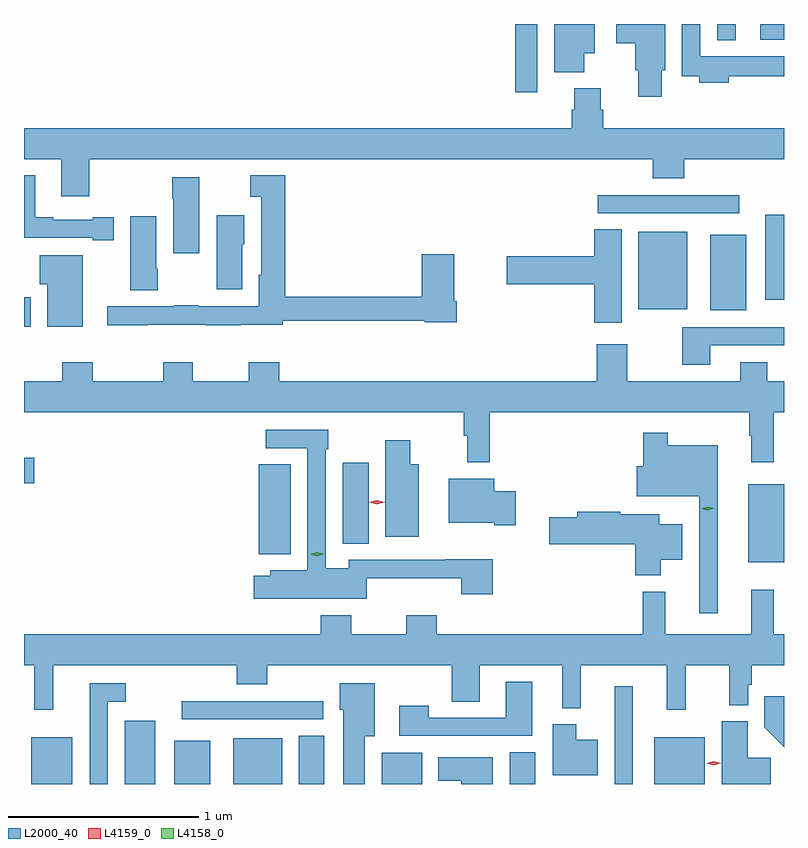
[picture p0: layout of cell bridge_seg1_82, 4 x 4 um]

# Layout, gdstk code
import gdstk
lib = gdstk.Library(unit=1e-6, precision=1e-09)
def R(c, l, rs):  # rectangles x0, y0, x1, y1
    for r in rs: c.add(gdstk.rectangle(r[:2], r[2:], *l))
def P(c, l, *ps):  # polygons
    for p in ps: c.add(gdstk.Polygon(p, *l))
L2000_40 = (2000, 40)
L4158_0 = (4158, 0)
L4159_0 = (4159, 0)

bridge_seg1_82 = lib.new_cell('bridge_seg1_82')
R(bridge_seg1_82, L2000_40, [(542.675,523.136,542.89,523.381), (543.167,523.136,543.328,523.468), (543.428,523.136,543.616,523.363), (543.737,523.136,543.994,523.378), (544.082,523.136,544.216,523.391), (544.52,523.136,544.732,523.3), (545.192,523.136,545.326,523.304), (545.745,523.136,545.841,523.651), (545.954,523.136,546.22,523.381), (543.465,523.476,544.21,523.572), (546.449,524.303,546.636,524.713), (543.872,524.345,544.039,524.819), (544.313,524.401,544.45,524.827), (542.636,524.72,542.689,524.854), (542.636,525.543,542.671,525.699), (546.248,525.629,546.436,526.027), (545.87,525.635,546.127,526.042), (546.536,525.684,546.636,526.132), (545.655,526.14,546.4,526.236), (545.221,526.776,545.337,527.136), (546.285,527.051,546.382,527.136), (546.512,527.052,546.636,527.136)])
P(bridge_seg1_82, L2000_40, [(546.344,526.86),(546.575,526.86),(546.575,526.862),(546.636,526.862),(546.636,526.966),(546.195,526.966),(546.195,527.136),(546.099,527.136),(546.099,526.86),(546.191,526.86),(546.191,526.826),(546.344,526.826)],
  [(545.584,526.982),(545.641,526.982),(545.641,527.136),(545.426,527.136),(545.426,526.883),(545.584,526.883)],
  [(545.992,526.893),(546.01,526.893),(546.01,527.136),(545.753,527.136),(545.753,527.035),(545.852,527.035),(545.852,526.893),(545.87,526.893),(545.87,526.752),(545.992,526.752)],
  [(542.979,526.424),(545.945,526.424),(545.945,526.325),(546.11,526.325),(546.11,526.424),(546.636,526.424),(546.636,526.588),(545.684,526.588),(545.684,526.686),(545.671,526.686),(545.671,526.798),(545.531,526.798),(545.531,526.686),(545.519,526.686),(545.519,526.588),(542.636,526.588),(542.636,526.424),(542.831,526.424),(542.831,526.23),(542.979,526.23)],
  [(543.109,526.12),(542.999,526.12),(542.999,526.107),(542.791,526.107),(542.791,526.12),(542.695,526.12),(542.695,526.339),(542.636,526.339),(542.636,526.011),(542.999,526.011),(542.999,525.999),(543.109,525.999)],
  [(543.287,525.554),(543.593,525.554),(543.593,525.55),(543.776,525.55),(543.776,525.554),(543.997,525.554),(543.997,525.573),(544.746,525.573),(544.746,525.565),(544.913,525.565),(544.913,525.676),(544.9,525.676),(544.9,525.925),(544.73,525.925),(544.73,525.701),(544.01,525.701),(544.01,526.339),(543.828,526.339),(543.828,526.226),(543.884,526.226),(543.884,525.816),(543.872,525.816),(543.872,525.651),(543.554,525.651),(543.554,525.656),(543.427,525.656),(543.427,525.651),(543.075,525.651),(543.075,525.55),(543.287,525.55)],
  [(543.559,526.33),(543.415,526.33),(543.415,526.217),(543.422,526.217),(543.422,525.93),(543.559,525.93)],
  [(543.784,525.978),(543.796,525.978),(543.796,526.129),(543.65,526.129),(543.65,525.74),(543.784,525.74)],
  [(543.339,525.847),(543.331,525.847),(543.331,526.123),(543.194,526.123),(543.194,525.736),(543.339,525.736)],
  [(545.782,526.055),(545.636,526.055),(545.636,525.914),(545.178,525.914),(545.178,525.767),(545.636,525.767),(545.636,525.564),(545.782,525.564)],
  [(542.944,525.919),(542.72,525.919),(542.72,525.767),(542.759,525.767),(542.759,525.542),(542.944,525.542)],
  [(546.247,525.444),(546.636,525.444),(546.636,525.54),(546.1,525.54),(546.1,525.342),(546.247,525.342)],
  [(545.087,525.092),(546.453,525.092),(546.453,524.969),(546.464,524.969),(546.464,524.829),(546.581,524.829),(546.581,525.092),(546.636,525.092),(546.636,525.256),(546.547,525.256),(546.547,525.355),(546.407,525.355),(546.407,525.256),(545.811,525.256),(545.811,525.451),(545.651,525.451),(545.651,525.256),(543.98,525.256),(543.98,525.355),(543.82,525.355),(543.82,525.256),(543.525,525.256),(543.525,525.355),(543.37,525.355),(543.37,525.256),(542.997,525.256),(542.997,525.355),(542.837,525.355),(542.837,525.256),(542.636,525.256),(542.636,525.092),(544.951,525.092),(544.951,524.969),(544.969,524.969),(544.969,524.829),(545.087,524.829)],
  [(544.44,524.219),(544.937,524.219),(544.937,524.136),(545.102,524.136),(545.102,524.318),(544.853,524.318),(544.853,524.316),(544.344,524.316),(544.344,524.272),(544.224,524.272),(544.224,524.897),(544.237,524.897),(544.237,525),(543.909,525),(543.909,524.904),(544.128,524.904),(544.128,524.26),(543.933,524.26),(543.933,524.233),(543.846,524.233),(543.846,524.111),(544.44,524.111)],
  [(546.286,524.92),(546.025,524.92),(546.025,524.986),(545.896,524.986),(545.896,524.809),(545.862,524.809),(545.862,524.651),(546.189,524.651),(546.189,524.034),(546.286,524.034)],
  [(544.714,524.818),(544.668,524.818),(544.668,524.944),(544.538,524.944),(544.538,524.438),(544.714,524.438)],
  [(545.224,524.676),(545.11,524.676),(545.11,524.743),(544.871,524.743),(544.871,524.51),(545.111,524.51),(545.111,524.498),(545.224,524.498)],
  [(545.986,524.315),(546.1,524.315),(546.1,524.503),(545.98,524.503),(545.98,524.557),(545.774,524.557),(545.774,524.57),(545.549,524.57),(545.549,524.54),(545.4,524.54),(545.4,524.398),(545.852,524.398),(545.852,524.234),(545.986,524.234)],
  [(544.808,524.023),(544.648,524.023),(544.648,523.924),(544.359,523.924),(544.359,524.023),(544.199,524.023),(544.199,523.924),(542.636,523.924),(542.636,523.76),(542.69,523.76),(542.69,523.527),(542.789,523.527),(542.789,523.76),(543.755,523.76),(543.755,523.661),(543.915,523.661),(543.915,523.76),(544.888,523.76),(544.888,523.57),(545.035,523.57),(545.035,523.76),(545.468,523.76),(545.468,523.535),(545.567,523.535),(545.567,523.76),(546.02,523.76),(546.02,523.527),(546.12,523.527),(546.12,523.76),(546.349,523.76),(546.349,523.55),(546.447,523.55),(546.447,523.659),(546.467,523.659),(546.467,523.76),(546.636,523.76),(546.636,523.924),(546.581,523.924),(546.581,524.158),(546.464,524.158),(546.464,523.924),(546.011,523.924),(546.011,524.149),(545.893,524.149),(545.893,523.924),(544.808,523.924)],
  [(545.311,523.675),(545.171,523.675),(545.171,523.485),(544.767,523.485),(544.767,523.549),(544.611,523.549),(544.611,523.389),(545.311,523.389)],
  [(544.429,523.388),(544.483,523.388),(544.483,523.666),(544.298,523.666),(544.298,523.527),(544.316,523.527),(544.316,523.136),(544.429,523.136)],
  [(543.078,523.569),(543.172,523.569),(543.172,523.665),(542.982,523.665),(542.982,523.136),(543.078,523.136)],
  [(546.636,523.597),(546.532,523.597),(546.532,523.434),(546.636,523.33)],
  [(546.566,523.274),(546.445,523.274),(546.445,523.465),(546.308,523.465),(546.308,523.136),(546.566,523.136)],
  [(545.656,523.369),(545.542,523.369),(545.542,523.45),(545.42,523.45),(545.42,523.181),(545.656,523.181)],
  [(545.104,523.276),(544.817,523.276),(544.817,523.154),(544.937,523.154),(544.937,523.136),(545.104,523.136)])
P(bridge_seg1_82, L4158_0, [(544.176,524.336),(544.142,524.346),(544.141,524.346),(544.142,524.346),(544.176,524.356),(544.211,524.347),(544.211,524.347),(544.211,524.346)],
  [(546.235,524.576),(546.2,524.584),(546.2,524.584),(546.2,524.584),(546.234,524.596),(546.27,524.588),(546.27,524.587),(546.27,524.587)])
P(bridge_seg1_82, L4159_0, [(544.493,524.609),(544.453,524.618),(544.453,524.618),(544.453,524.618),(544.493,524.629),(544.534,524.619),(544.534,524.619),(544.534,524.619)],
  [(546.265,523.235),(546.226,523.244),(546.226,523.245),(546.226,523.245),(546.265,523.255),(546.304,523.245),(546.304,523.245),(546.304,523.245)])

lib.write_gds('bridge_seg1_82.gds')
